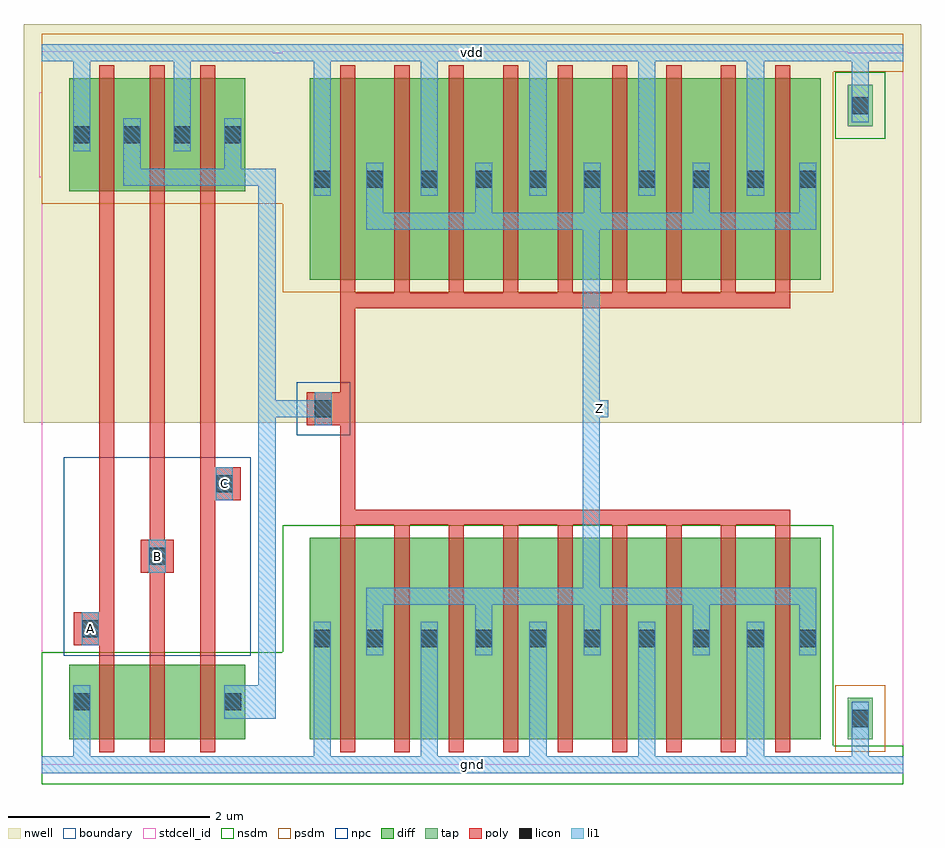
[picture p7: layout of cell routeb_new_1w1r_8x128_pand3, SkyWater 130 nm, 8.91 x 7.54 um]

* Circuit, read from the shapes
.subckt routeb_new_1w1r_8x128_pand3 A B C Z gnd vdd
XM1 routeb_new_1w1r_8x128_pnand3_0/routeb_new_1w1r_8x128_nmos_m1_w0_740_sli_dactive_3/D A gnd gnd sky130_fd_pr__nfet_01v8 w=0.74 l=0.15
XM2 routeb_new_1w1r_8x128_pnand3_0/routeb_new_1w1r_8x128_nmos_m1_w0_740_sactive_dactive_4/D B routeb_new_1w1r_8x128_pnand3_0/routeb_new_1w1r_8x128_nmos_m1_w0_740_sli_dactive_3/D gnd sky130_fd_pr__nfet_01v8 w=0.74 l=0.15
XM3 routeb_new_1w1r_8x128_pdriver_2_1/A C routeb_new_1w1r_8x128_pnand3_0/routeb_new_1w1r_8x128_nmos_m1_w0_740_sactive_dactive_4/D gnd sky130_fd_pr__nfet_01v8 w=0.74 l=0.15
XM4 Z routeb_new_1w1r_8x128_pdriver_2_1/A gnd gnd sky130_fd_pr__nfet_01v8 w=2 l=0.15 m=9
XM5 routeb_new_1w1r_8x128_pdriver_2_1/A A vdd vdd sky130_fd_pr__pfet_01v8 w=1.12 l=0.15
XM6 vdd B routeb_new_1w1r_8x128_pdriver_2_1/A vdd sky130_fd_pr__pfet_01v8 w=1.12 l=0.15
XM7 routeb_new_1w1r_8x128_pdriver_2_1/A C vdd vdd sky130_fd_pr__pfet_01v8 w=1.12 l=0.15
XM8 Z routeb_new_1w1r_8x128_pdriver_2_1/A vdd vdd sky130_fd_pr__pfet_01v8 w=2 l=0.15 m=9
.ends

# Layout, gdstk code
import gdstk
lib = gdstk.Library(unit=1e-6, precision=1e-09)
def R(c, l, rs):  # rectangles x0, y0, x1, y1
    for r in rs: c.add(gdstk.rectangle(r[:2], r[2:], *l))
def A(c, l, x, y, w, h, nx, ny, dx, dy):  # array of equal rectangles
    R(c, l, [(x+i*dx, y+j*dy, x+i*dx+w, y+j*dy+h) for i in range(nx) for j in range(ny)])
nwell = (64, 20)
diff = (65, 20)
tap = (65, 44)
poly = (66, 20)
licon = (66, 44)
li1 = (67, 20)
stdcell_id = (81, 4)
nsdm = (93, 44)
psdm = (94, 20)
npc = (95, 20)
boundary = (235, 4)

routeb_new_1w1r_8x128_co = lib.new_cell('routeb_new_1w1r_8x128_contact_11')
R(routeb_new_1w1r_8x128_co, nwell, [(-0.295,-0.255,0.545,0.585)])
R(routeb_new_1w1r_8x128_co, diff, [(0,0.02,0.25,0.31)])
R(routeb_new_1w1r_8x128_co, licon, [(0.04,0.08,0.21,0.25)])
R(routeb_new_1w1r_8x128_co, li1, [(0.04,0,0.21,0.33)])
R(routeb_new_1w1r_8x128_co, stdcell_id, [(-0.295,-0.255,0.545,0.585)])
R(routeb_new_1w1r_8x128_co, psdm, [(-0.125,-0.105,0.375,0.435)])
R(routeb_new_1w1r_8x128_co, boundary, [(-0.295,-0.255,0.545,0.585)])

routeb_new_1w1r_8x128_pm = lib.new_cell('routeb_new_1w1r_8x128_pmos_m1_w1_120_sli_dli')
R(routeb_new_1w1r_8x128_pm, nwell, [(-0.27,-0.27,1.02,1.39)])
R(routeb_new_1w1r_8x128_pm, diff, [(0,0,0.75,1.12)])
R(routeb_new_1w1r_8x128_pm, poly, [(0.3,-0.13,0.45,1.25), (0.3,-0.13,0.45,1.25)])
R(routeb_new_1w1r_8x128_pm, li1, [(0.04,0.395,0.21,0.725), (0.54,0.395,0.71,0.725)])
R(routeb_new_1w1r_8x128_pm, stdcell_id, [(-0.27,-0.27,1.02,1.39)])
R(routeb_new_1w1r_8x128_pm, psdm, [(-0.125,-0.125,0.875,1.245)])
R(routeb_new_1w1r_8x128_pm, boundary, [(-0.27,-0.27,1.02,1.39)])
routeb_new_1w1r_8x128_pm.add(gdstk.Reference(routeb_new_1w1r_8x128_co, (0,0.395)))
routeb_new_1w1r_8x128_pm.add(gdstk.Reference(routeb_new_1w1r_8x128_co, (0.5,0.395)))
routeb_new_1w1r_8x128_pm.add(gdstk.Label('G', (0.375,0.56), layer=66, texttype=5))
routeb_new_1w1r_8x128_pm.add(gdstk.Label('S', (0.125,0.56), layer=67, texttype=5))
routeb_new_1w1r_8x128_pm.add(gdstk.Label('D', (0.625,0.56), layer=67, texttype=5))

c_routeb_new_1w1r_8x128_co = lib.new_cell('routeb_new_1w1r_8x128_contact_10')
R(c_routeb_new_1w1r_8x128_co, diff, [(0,0.02,0.25,0.31)])
R(c_routeb_new_1w1r_8x128_co, licon, [(0.04,0.08,0.21,0.25)])
R(c_routeb_new_1w1r_8x128_co, li1, [(0.04,0,0.21,0.33)])
R(c_routeb_new_1w1r_8x128_co, stdcell_id, [(-0.125,-0.105,0.375,0.435)])
R(c_routeb_new_1w1r_8x128_co, nsdm, [(-0.125,-0.105,0.375,0.435)])
R(c_routeb_new_1w1r_8x128_co, boundary, [(-0.125,-0.105,0.375,0.435)])

routeb_new_1w1r_8x128_nm = lib.new_cell('routeb_new_1w1r_8x128_nmos_m1_w0_740_sli_dactive')
R(routeb_new_1w1r_8x128_nm, diff, [(0,0,0.75,0.74), (0.55,0.295,0.7,0.445)])
R(routeb_new_1w1r_8x128_nm, poly, [(0.3,-0.13,0.45,0.87), (0.3,-0.13,0.45,0.87)])
R(routeb_new_1w1r_8x128_nm, li1, [(0.04,0.205,0.21,0.535)])
R(routeb_new_1w1r_8x128_nm, stdcell_id, [(-0.125,-0.13,0.875,0.87)])
R(routeb_new_1w1r_8x128_nm, nsdm, [(-0.125,-0.125,0.875,0.865)])
R(routeb_new_1w1r_8x128_nm, boundary, [(-0.125,-0.13,0.875,0.87)])
routeb_new_1w1r_8x128_nm.add(gdstk.Reference(c_routeb_new_1w1r_8x128_co, (0,0.205)))
routeb_new_1w1r_8x128_nm.add(gdstk.Label('G', (0.375,0.37), layer=66, texttype=5))
routeb_new_1w1r_8x128_nm.add(gdstk.Label('S', (0.125,0.37), layer=67, texttype=5))
routeb_new_1w1r_8x128_nm.add(gdstk.Label('D', (0.625,0.37), layer=65, texttype=5))

c_routeb_new_1w1r_8x128_nm = lib.new_cell('routeb_new_1w1r_8x128_nmos_m1_w0_740_sactive_dactive')
R(c_routeb_new_1w1r_8x128_nm, diff, [(0,0,0.75,0.74), (0.05,0.295,0.2,0.445), (0.55,0.295,0.7,0.445)])
R(c_routeb_new_1w1r_8x128_nm, poly, [(0.3,-0.13,0.45,0.87), (0.3,-0.13,0.45,0.87)])
R(c_routeb_new_1w1r_8x128_nm, stdcell_id, [(-0.125,-0.13,0.875,0.87)])
R(c_routeb_new_1w1r_8x128_nm, nsdm, [(-0.125,-0.125,0.875,0.865)])
R(c_routeb_new_1w1r_8x128_nm, boundary, [(-0.125,-0.13,0.875,0.87)])
c_routeb_new_1w1r_8x128_nm.add(gdstk.Label('G', (0.375,0.37), layer=66, texttype=5))
c_routeb_new_1w1r_8x128_nm.add(gdstk.Label('S', (0.125,0.37), layer=65, texttype=5))
c_routeb_new_1w1r_8x128_nm.add(gdstk.Label('D', (0.625,0.37), layer=65, texttype=5))

c_routeb_new_1w1r_8x128_nm_ = lib.new_cell('routeb_new_1w1r_8x128_nmos_m1_w0_740_sactive_dli')
R(c_routeb_new_1w1r_8x128_nm_, diff, [(0,0,0.75,0.74), (0.05,0.295,0.2,0.445)])
R(c_routeb_new_1w1r_8x128_nm_, poly, [(0.3,-0.13,0.45,0.87), (0.3,-0.13,0.45,0.87)])
R(c_routeb_new_1w1r_8x128_nm_, li1, [(0.54,0.205,0.71,0.535)])
R(c_routeb_new_1w1r_8x128_nm_, stdcell_id, [(-0.125,-0.13,0.875,0.87)])
R(c_routeb_new_1w1r_8x128_nm_, nsdm, [(-0.125,-0.125,0.875,0.865)])
R(c_routeb_new_1w1r_8x128_nm_, boundary, [(-0.125,-0.13,0.875,0.87)])
c_routeb_new_1w1r_8x128_nm_.add(gdstk.Reference(c_routeb_new_1w1r_8x128_co, (0.5,0.205)))
c_routeb_new_1w1r_8x128_nm_.add(gdstk.Label('G', (0.375,0.37), layer=66, texttype=5))
c_routeb_new_1w1r_8x128_nm_.add(gdstk.Label('S', (0.125,0.37), layer=65, texttype=5))
c_routeb_new_1w1r_8x128_nm_.add(gdstk.Label('D', (0.625,0.37), layer=67, texttype=5))

c_routeb_new_1w1r_8x128_co_ = lib.new_cell('routeb_new_1w1r_8x128_contact_15')
R(c_routeb_new_1w1r_8x128_co_, poly, [(0,0,0.33,0.33)])
R(c_routeb_new_1w1r_8x128_co_, licon, [(0.08,0.08,0.25,0.25)])
R(c_routeb_new_1w1r_8x128_co_, li1, [(0.08,0,0.25,0.33)])
R(c_routeb_new_1w1r_8x128_co_, stdcell_id, [(-0.1,-0.1,0.43,0.43)])
R(c_routeb_new_1w1r_8x128_co_, npc, [(-0.1,-0.1,0.43,0.43)])
R(c_routeb_new_1w1r_8x128_co_, boundary, [(-0.1,-0.1,0.43,0.43)])

routeb_new_1w1r_8x128_pn = lib.new_cell('routeb_new_1w1r_8x128_pnand3')
R(routeb_new_1w1r_8x128_pn, nwell, [(-0.18,3.395,2.57,7.355)])
A(routeb_new_1w1r_8x128_pn, poly, 0.57, 1.125, 0.15, 4.44, 3, 1, 0.5, 0)
R(routeb_new_1w1r_8x128_pn, poly, [(0.48,1.185,0.57,1.515), (1.07,1.905,1.145,2.235), (1.57,2.625,1.81,2.955)])
R(routeb_new_1w1r_8x128_pn, li1, [(0,-0.085,2.39,0.085), (0.31,-0.085,0.48,0.46), (1.895,0.46,2.235,0.79), (2.15,0.46,2.32,5.835), (0.395,1.185,0.565,1.515), (1.06,1.905,1.23,2.235), (1.725,2.625,1.895,2.955), (0.81,5.75,0.98,5.92), (0.895,5.75,2.235,5.92), (1.81,5.75,1.98,5.92), (1.895,5.75,2.235,5.92), (2.15,5.75,2.32,5.92), (0.81,5.835,0.98,6.255), (1.81,5.835,1.98,6.255), (0.31,6.09,0.48,7.155), (1.31,6.09,1.48,7.155), (0,6.985,2.39,7.155)])
R(routeb_new_1w1r_8x128_pn, stdcell_id, [(0,0,2.39,7.07), (0,0,2.39,7.07)])
R(routeb_new_1w1r_8x128_pn, nsdm, [(0,-0.19,2.39,0.19), (0,0,2.39,1.12)])
R(routeb_new_1w1r_8x128_pn, psdm, [(0,5.57,2.39,7.07), (0,6.88,2.39,7.26)])
R(routeb_new_1w1r_8x128_pn, npc, [(0.215,1.085,2.075,3.055)])
R(routeb_new_1w1r_8x128_pn, boundary, [(0,0,2.39,7.07), (0,0,2.39,7.07)])
routeb_new_1w1r_8x128_pn.add(gdstk.Reference(routeb_new_1w1r_8x128_pm, (0.27,5.695)))
routeb_new_1w1r_8x128_pn.add(gdstk.Reference(routeb_new_1w1r_8x128_pm, (0.77,5.695)))
routeb_new_1w1r_8x128_pn.add(gdstk.Reference(routeb_new_1w1r_8x128_pm, (1.27,5.695)))
routeb_new_1w1r_8x128_pn.add(gdstk.Reference(routeb_new_1w1r_8x128_nm, (0.27,0.255)))
routeb_new_1w1r_8x128_pn.add(gdstk.Reference(c_routeb_new_1w1r_8x128_nm, (0.77,0.255)))
routeb_new_1w1r_8x128_pn.add(gdstk.Reference(c_routeb_new_1w1r_8x128_nm_, (1.27,0.255)))
routeb_new_1w1r_8x128_pn.add(gdstk.Reference(c_routeb_new_1w1r_8x128_co_, (0.315,1.185)))
routeb_new_1w1r_8x128_pn.add(gdstk.Reference(c_routeb_new_1w1r_8x128_co_, (0.98,1.905)))
routeb_new_1w1r_8x128_pn.add(gdstk.Reference(c_routeb_new_1w1r_8x128_co_, (1.645,2.625)))
routeb_new_1w1r_8x128_pn.add(gdstk.Label('A', (0.48,1.35), layer=67, texttype=5))
routeb_new_1w1r_8x128_pn.add(gdstk.Label('B', (1.145,2.07), layer=67, texttype=5))
routeb_new_1w1r_8x128_pn.add(gdstk.Label('C', (1.81,2.79), layer=67, texttype=5))
routeb_new_1w1r_8x128_pn.add(gdstk.Label('Z', (2.235,5.835), layer=67, texttype=5))
routeb_new_1w1r_8x128_pn.add(gdstk.Label('gnd', (1.195,0), layer=67, texttype=5))
routeb_new_1w1r_8x128_pn.add(gdstk.Label('vdd', (1.195,7.07), layer=67, texttype=5))

c_routeb_new_1w1r_8x128_pm = lib.new_cell('routeb_new_1w1r_8x128_pmos_m9_w2_000_sli_dli_da_p')
R(c_routeb_new_1w1r_8x128_pm, nwell, [(-0.27,-0.27,5.34,2.27)])
R(c_routeb_new_1w1r_8x128_pm, diff, [(0,0,5.07,2)])
A(c_routeb_new_1w1r_8x128_pm, poly, 0.3, -0.13, 0.15, 2.26, 9, 1, 0.54, 0)
R(c_routeb_new_1w1r_8x128_pm, poly, [(0.3,-0.28,4.77,-0.13)])
A(c_routeb_new_1w1r_8x128_pm, li1, 0.56, 0.58, 0.17, 0.42, 4, 1, 1.08, 0)
A(c_routeb_new_1w1r_8x128_pm, li1, 1.1, 0.835, 0.17, 0.33, 4, 1, 1.08, 0)
R(c_routeb_new_1w1r_8x128_pm, li1, [(0.56,0.495,5.03,0.665), (4.86,0.58,5.03,1), (0.04,0.835,0.21,1.165)])
R(c_routeb_new_1w1r_8x128_pm, stdcell_id, [(-0.27,-0.28,5.34,2.27)])
R(c_routeb_new_1w1r_8x128_pm, psdm, [(-0.125,-0.125,5.195,2.125)])
R(c_routeb_new_1w1r_8x128_pm, boundary, [(-0.27,-0.28,5.34,2.27)])
c_routeb_new_1w1r_8x128_pm.add(gdstk.Reference(routeb_new_1w1r_8x128_co, (0,0.835)))
c_routeb_new_1w1r_8x128_pm.add(gdstk.Reference(routeb_new_1w1r_8x128_co, (0.52,0.835)))
c_routeb_new_1w1r_8x128_pm.add(gdstk.Reference(routeb_new_1w1r_8x128_co, (1.06,0.835)))
c_routeb_new_1w1r_8x128_pm.add(gdstk.Reference(routeb_new_1w1r_8x128_co, (1.6,0.835)))
c_routeb_new_1w1r_8x128_pm.add(gdstk.Reference(routeb_new_1w1r_8x128_co, (2.14,0.835)))
c_routeb_new_1w1r_8x128_pm.add(gdstk.Reference(routeb_new_1w1r_8x128_co, (2.68,0.835)))
c_routeb_new_1w1r_8x128_pm.add(gdstk.Reference(routeb_new_1w1r_8x128_co, (3.22,0.835)))
c_routeb_new_1w1r_8x128_pm.add(gdstk.Reference(routeb_new_1w1r_8x128_co, (3.76,0.835)))
c_routeb_new_1w1r_8x128_pm.add(gdstk.Reference(routeb_new_1w1r_8x128_co, (4.3,0.835)))
c_routeb_new_1w1r_8x128_pm.add(gdstk.Reference(routeb_new_1w1r_8x128_co, (4.82,0.835)))
c_routeb_new_1w1r_8x128_pm.add(gdstk.Label('G', (2.535,-0.205), layer=66, texttype=5))
c_routeb_new_1w1r_8x128_pm.add(gdstk.Label('S', (4.425,1), layer=67, texttype=5))
c_routeb_new_1w1r_8x128_pm.add(gdstk.Label('S', (0.125,1), layer=67, texttype=5))
c_routeb_new_1w1r_8x128_pm.add(gdstk.Label('S', (2.265,1), layer=67, texttype=5))
c_routeb_new_1w1r_8x128_pm.add(gdstk.Label('S', (1.185,1), layer=67, texttype=5))
c_routeb_new_1w1r_8x128_pm.add(gdstk.Label('S', (3.345,1), layer=67, texttype=5))
c_routeb_new_1w1r_8x128_pm.add(gdstk.Label('D', (2.795,0.58), layer=67, texttype=5))

c_routeb_new_1w1r_8x128_nm__ = lib.new_cell('routeb_new_1w1r_8x128_nmos_m9_w2_000_sli_dli_da_p')
R(c_routeb_new_1w1r_8x128_nm__, diff, [(0,0,5.07,2)])
A(c_routeb_new_1w1r_8x128_nm__, poly, 0.3, -0.13, 0.15, 2.26, 9, 1, 0.54, 0)
R(c_routeb_new_1w1r_8x128_nm__, poly, [(0.3,2.13,4.77,2.28)])
A(c_routeb_new_1w1r_8x128_nm__, li1, 1.1, 0.835, 0.17, 0.33, 4, 1, 1.08, 0)
A(c_routeb_new_1w1r_8x128_nm__, li1, 0.56, 1, 0.17, 0.42, 4, 1, 1.08, 0)
R(c_routeb_new_1w1r_8x128_nm__, li1, [(0.04,0.835,0.21,1.165), (4.86,1,5.03,1.42), (0.56,1.335,5.03,1.505)])
R(c_routeb_new_1w1r_8x128_nm__, stdcell_id, [(-0.125,-0.13,5.195,2.28)])
R(c_routeb_new_1w1r_8x128_nm__, nsdm, [(-0.125,-0.125,5.195,2.125)])
R(c_routeb_new_1w1r_8x128_nm__, boundary, [(-0.125,-0.13,5.195,2.28)])
c_routeb_new_1w1r_8x128_nm__.add(gdstk.Reference(c_routeb_new_1w1r_8x128_co, (0,0.835)))
c_routeb_new_1w1r_8x128_nm__.add(gdstk.Reference(c_routeb_new_1w1r_8x128_co, (0.52,0.835)))
c_routeb_new_1w1r_8x128_nm__.add(gdstk.Reference(c_routeb_new_1w1r_8x128_co, (1.06,0.835)))
c_routeb_new_1w1r_8x128_nm__.add(gdstk.Reference(c_routeb_new_1w1r_8x128_co, (1.6,0.835)))
c_routeb_new_1w1r_8x128_nm__.add(gdstk.Reference(c_routeb_new_1w1r_8x128_co, (2.14,0.835)))
c_routeb_new_1w1r_8x128_nm__.add(gdstk.Reference(c_routeb_new_1w1r_8x128_co, (2.68,0.835)))
c_routeb_new_1w1r_8x128_nm__.add(gdstk.Reference(c_routeb_new_1w1r_8x128_co, (3.22,0.835)))
c_routeb_new_1w1r_8x128_nm__.add(gdstk.Reference(c_routeb_new_1w1r_8x128_co, (3.76,0.835)))
c_routeb_new_1w1r_8x128_nm__.add(gdstk.Reference(c_routeb_new_1w1r_8x128_co, (4.3,0.835)))
c_routeb_new_1w1r_8x128_nm__.add(gdstk.Reference(c_routeb_new_1w1r_8x128_co, (4.82,0.835)))
c_routeb_new_1w1r_8x128_nm__.add(gdstk.Label('G', (2.535,2.205), layer=66, texttype=5))
c_routeb_new_1w1r_8x128_nm__.add(gdstk.Label('S', (4.425,1), layer=67, texttype=5))
c_routeb_new_1w1r_8x128_nm__.add(gdstk.Label('S', (0.125,1), layer=67, texttype=5))
c_routeb_new_1w1r_8x128_nm__.add(gdstk.Label('S', (2.265,1), layer=67, texttype=5))
c_routeb_new_1w1r_8x128_nm__.add(gdstk.Label('S', (1.185,1), layer=67, texttype=5))
c_routeb_new_1w1r_8x128_nm__.add(gdstk.Label('S', (3.345,1), layer=67, texttype=5))
c_routeb_new_1w1r_8x128_nm__.add(gdstk.Label('D', (2.795,1.42), layer=67, texttype=5))

c_routeb_new_1w1r_8x128_co__ = lib.new_cell('routeb_new_1w1r_8x128_contact_24')
R(c_routeb_new_1w1r_8x128_co__, nwell, [(-0.295,-0.215,0.545,0.625)])
R(c_routeb_new_1w1r_8x128_co__, tap, [(0,0,0.25,0.41)])
R(c_routeb_new_1w1r_8x128_co__, licon, [(0.04,0.12,0.21,0.29)])
R(c_routeb_new_1w1r_8x128_co__, li1, [(0.04,0.04,0.21,0.37)])
R(c_routeb_new_1w1r_8x128_co__, stdcell_id, [(-0.295,-0.215,0.545,0.625)])
R(c_routeb_new_1w1r_8x128_co__, nsdm, [(-0.125,-0.125,0.375,0.535)])
R(c_routeb_new_1w1r_8x128_co__, boundary, [(-0.295,-0.215,0.545,0.625)])

c_routeb_new_1w1r_8x128_co___ = lib.new_cell('routeb_new_1w1r_8x128_contact_25')
R(c_routeb_new_1w1r_8x128_co___, tap, [(0,0,0.25,0.41)])
R(c_routeb_new_1w1r_8x128_co___, licon, [(0.04,0.12,0.21,0.29)])
R(c_routeb_new_1w1r_8x128_co___, li1, [(0.04,0.04,0.21,0.37)])
R(c_routeb_new_1w1r_8x128_co___, stdcell_id, [(-0.125,-0.125,0.375,0.535)])
R(c_routeb_new_1w1r_8x128_co___, psdm, [(-0.125,-0.125,0.375,0.535)])
R(c_routeb_new_1w1r_8x128_co___, boundary, [(-0.125,-0.125,0.375,0.535)])

routeb_new_1w1r_8x128_pi = lib.new_cell('routeb_new_1w1r_8x128_pinv_9')
R(routeb_new_1w1r_8x128_pi, nwell, [(-0.18,3.395,6.34,7.355)])
R(routeb_new_1w1r_8x128_pi, poly, [(0.57,2.535,0.72,4.535), (0.405,3.37,0.57,3.7)])
A(routeb_new_1w1r_8x128_pi, li1, 1.37, -0.085, 0.17, 1.175, 4, 1, 1.08, 0)
A(routeb_new_1w1r_8x128_pi, li1, 1.37, 5.65, 0.17, 1.505, 4, 1, 1.08, 0)
R(routeb_new_1w1r_8x128_pi, li1, [(0,-0.085,6.16,0.085), (0.31,-0.085,0.48,1.09), (5.65,0,5.82,0.46), (2.98,1.59,3.15,5.48), (0.32,3.37,0.49,3.7), (3.065,3.45,3.235,3.62), (0.31,5.65,0.48,7.155), (5.65,6.545,5.82,7.07), (0,6.985,6.16,7.155)])
R(routeb_new_1w1r_8x128_pi, stdcell_id, [(0,0,6.16,7.07), (0,0,6.16,7.07)])
R(routeb_new_1w1r_8x128_pi, nsdm, [(0,-0.19,6.16,0.19), (0,0,5.465,2.38)])
R(routeb_new_1w1r_8x128_pi, psdm, [(0,4.69,5.465,7.07), (0,6.88,6.16,7.26)])
R(routeb_new_1w1r_8x128_pi, boundary, [(0,0,6.16,7.07), (0,0,6.16,7.07)])
routeb_new_1w1r_8x128_pi.add(gdstk.Reference(c_routeb_new_1w1r_8x128_pm, (0.27,4.815)))
routeb_new_1w1r_8x128_pi.add(gdstk.Reference(c_routeb_new_1w1r_8x128_nm__, (0.27,0.255)))
routeb_new_1w1r_8x128_pi.add(gdstk.Reference(c_routeb_new_1w1r_8x128_co__, (5.61,6.34)))
routeb_new_1w1r_8x128_pi.add(gdstk.Reference(c_routeb_new_1w1r_8x128_co___, (5.61,0.255)))
routeb_new_1w1r_8x128_pi.add(gdstk.Reference(c_routeb_new_1w1r_8x128_co_, (0.24,3.37)))
routeb_new_1w1r_8x128_pi.add(gdstk.Label('A', (0.405,3.535), layer=67, texttype=5))
routeb_new_1w1r_8x128_pi.add(gdstk.Label('Z', (3.15,3.535), layer=67, texttype=5))
routeb_new_1w1r_8x128_pi.add(gdstk.Label('gnd', (3.08,0), layer=67, texttype=5))
routeb_new_1w1r_8x128_pi.add(gdstk.Label('vdd', (3.08,7.07), layer=67, texttype=5))

routeb_new_1w1r_8x128_pd = lib.new_cell('routeb_new_1w1r_8x128_pdriver_2')
R(routeb_new_1w1r_8x128_pd, nwell, [(-0.18,3.395,6.34,7.355)])
R(routeb_new_1w1r_8x128_pd, li1, [(0,-0.085,6.16,0.085), (0.32,3.37,0.49,3.7), (3.065,3.45,3.235,3.62), (0,6.985,6.16,7.155)])
R(routeb_new_1w1r_8x128_pd, stdcell_id, [(0,0,6.16,7.07), (0,0,6.16,7.07)])
R(routeb_new_1w1r_8x128_pd, nsdm, [(0,-0.19,6.16,0.19)])
R(routeb_new_1w1r_8x128_pd, psdm, [(0,6.88,6.16,7.26)])
R(routeb_new_1w1r_8x128_pd, boundary, [(0,0,6.16,7.07), (0,0,6.16,7.07)])
routeb_new_1w1r_8x128_pd.add(gdstk.Reference(routeb_new_1w1r_8x128_pi, (0,0)))
routeb_new_1w1r_8x128_pd.add(gdstk.Label('Z', (3.15,3.535), layer=67, texttype=5))
routeb_new_1w1r_8x128_pd.add(gdstk.Label('A', (0.405,3.535), layer=67, texttype=5))
routeb_new_1w1r_8x128_pd.add(gdstk.Label('gnd', (3.08,0), layer=67, texttype=5))
routeb_new_1w1r_8x128_pd.add(gdstk.Label('vdd', (3.08,7.07), layer=67, texttype=5))

routeb_new_1w1r_8x128_pa = lib.new_cell('routeb_new_1w1r_8x128_pand3')
R(routeb_new_1w1r_8x128_pa, li1, [(0,-0.085,8.55,0.085), (0.395,1.185,0.565,1.515), (1.06,1.905,1.23,2.235), (1.725,2.625,1.895,2.955), (2.15,3.45,2.32,3.62), (2.235,3.45,2.795,3.62), (5.455,3.45,5.625,3.62), (2.15,3.535,2.32,5.835), (0,6.985,8.55,7.155)])
R(routeb_new_1w1r_8x128_pa, stdcell_id, [(0,0,8.55,7.07), (0,0,8.55,7.07)])
R(routeb_new_1w1r_8x128_pa, boundary, [(0,0,8.55,7.07), (0,0,8.55,7.07)])
routeb_new_1w1r_8x128_pa.add(gdstk.Reference(routeb_new_1w1r_8x128_pn, (0,0)))
routeb_new_1w1r_8x128_pa.add(gdstk.Reference(routeb_new_1w1r_8x128_pd, (2.39,0)))
routeb_new_1w1r_8x128_pa.add(gdstk.Label('Z', (5.54,3.535), layer=67, texttype=5))
routeb_new_1w1r_8x128_pa.add(gdstk.Label('A', (0.48,1.35), layer=67, texttype=5))
routeb_new_1w1r_8x128_pa.add(gdstk.Label('B', (1.145,2.07), layer=67, texttype=5))
routeb_new_1w1r_8x128_pa.add(gdstk.Label('C', (1.81,2.79), layer=67, texttype=5))
routeb_new_1w1r_8x128_pa.add(gdstk.Label('gnd', (4.275,0), layer=67, texttype=5))
routeb_new_1w1r_8x128_pa.add(gdstk.Label('vdd', (4.275,7.07), layer=67, texttype=5))

lib.write_gds('routeb_new_1w1r_8x128_pand3.gds')
